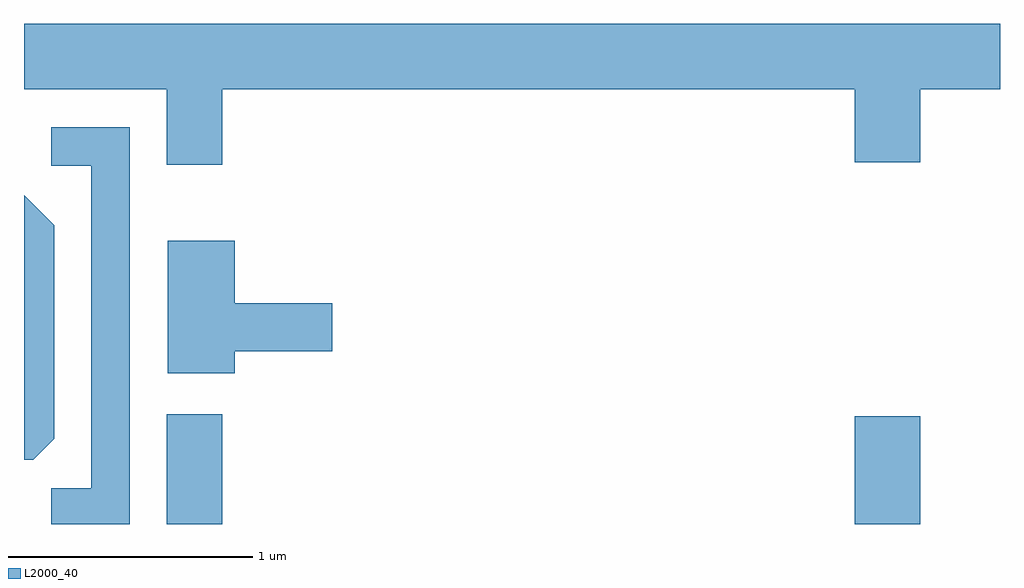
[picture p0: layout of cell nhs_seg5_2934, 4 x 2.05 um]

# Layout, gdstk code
import gdstk
lib = gdstk.Library(unit=1e-6, precision=1e-09)
def R(c, l, rs):  # rectangles x0, y0, x1, y1
    for r in rs: c.add(gdstk.rectangle(r[:2], r[2:], *l))
def P(c, l, *ps):  # polygons
    for p in ps: c.add(gdstk.Polygon(p, *l))
L2000_40 = (2000, 40)

nhs_seg5_2934 = lib.new_cell('nhs_seg5_2934')
R(nhs_seg5_2934, L2000_40, [(272.196,1506.072,272.424,1506.524), (275.016,1506.072,275.284,1506.514)])
P(nhs_seg5_2934, L2000_40, [(272.424,1507.856),(275.016,1507.856),(275.016,1507.556),(275.284,1507.556),(275.284,1507.856),(275.611,1507.856),(275.611,1508.124),(271.611,1508.124),(271.611,1507.856),(272.196,1507.856),(272.196,1507.546),(272.424,1507.546)],
  [(272.044,1507.699),(271.723,1507.699),(271.723,1507.541),(271.886,1507.541),(271.886,1506.219),(271.723,1506.219),(271.723,1506.072),(272.044,1506.072)],
  [(271.734,1506.422),(271.734,1507.297),(271.611,1507.42),(271.611,1506.336),(271.649,1506.336)],
  [(272.474,1506.781),(272.874,1506.781),(272.874,1506.979),(272.474,1506.979),(272.474,1507.234),(272.201,1507.234),(272.201,1506.691),(272.474,1506.691)])

lib.write_gds('nhs_seg5_2934.gds')
